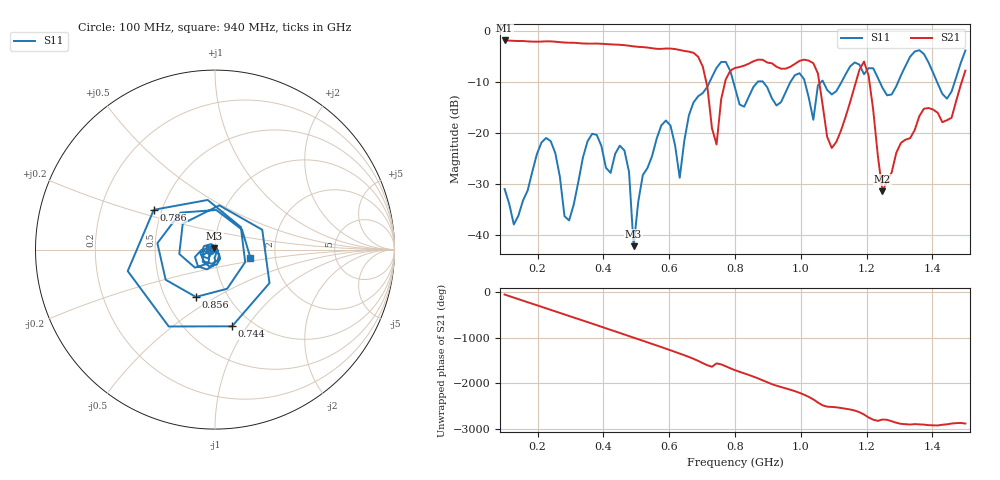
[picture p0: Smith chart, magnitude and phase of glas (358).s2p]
! NanoVNA-App
! Date: 2025-09-25 15:58:16
! Start: 100MHz Stop: 1,5GHz Points: 101
! S-Parameter data: F S11 S21 S12 S22
# Hz S RI R 50
!  Frequency  S11_Real  S11_Imag  S21_Real  S21_Imag  S12_Real  S12_Imag  S22_Real  S22_Imag
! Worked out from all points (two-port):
!   101 points, 100 MHz to 1.5 GHz, reference 50 ohm
!   highest |S21| = -1.80 dB at 100 MHz (marker M1); lowest = -31.4 dB at 1.248 GHz (marker M2)
!   |S21| within 3 dB of the highest: start of sweep to 684.6 MHz
!   lowest |S11| = -42.2 dB at 492 MHz (marker M3), VSWR 1.02, Z = 49.5 + j0.613 ohm
!   |S11| at or under -10 dB: start of sweep to 722.5 MHz; 795.4 MHz to 867.9 MHz (72.5 MHz wide, 8.72 % of centre); 886.2 MHz to 967.9 MHz (81.73 MHz wide, 8.82 % of centre)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
!   S12 and S22 are empty: the file has one direction only
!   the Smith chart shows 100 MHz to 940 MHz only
!   S11 on the Smith chart (normalised r, x): 100 MHz: 0.95, -0.01; 744 MHz: 0.81, -0.85; 786 MHz: 0.45, +0.24; 856 MHz: 0.71, -0.41; 940 MHz: 1.48, -0.14
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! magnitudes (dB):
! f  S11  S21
! 100 MHz  -30.9  -1.8
! 128 MHz  -37.9  -1.9
! 226 MHz  -20.9  -2.0
! 296 MHz  -37.1  -2.2
! 338 MHz  -24.7  -2.4
! 464 MHz  -23.4  -2.7
! 492 MHz  -42.2  -3.0
! 576 MHz  -18.5  -3.5
! 632 MHz  -28.7  -3.7
! 702 MHz  -12.1  -6.9
! 744 MHz  -7.2  -22.2
! 786 MHz  -7.8  -7.7
! 800 MHz  -11.1  -7.2
! 856 MHz  -10.9  -5.9
! 940 MHz  -13.9  -7.3
! 996 MHz  -8.2  -5.8
! 1.038 GHz  -17.4  -6.3
! 1.094 GHz  -12.4  -22.9
! 1.192 GHz  -8.4  -5.9
! 1.248 GHz  -11.1  -31.4
! 1.276 GHz  -12.4  -27.7
! 1.5 GHz  -3.8  -7.7
